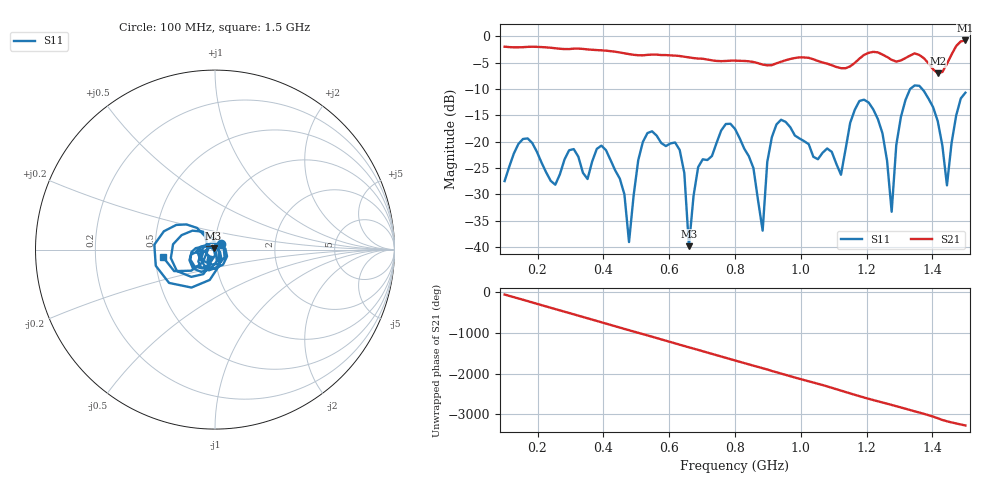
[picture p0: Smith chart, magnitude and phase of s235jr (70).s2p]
! NanoVNA-App
! Date: 2025-09-25 15:04:42
! Start: 100MHz Stop: 1,5GHz Points: 101
! S-Parameter data: F S11 S21 S12 S22
# Hz S RI R 50
!  Frequency  S11_Real  S11_Imag  S21_Real  S21_Imag  S12_Real  S12_Imag  S22_Real  S22_Imag
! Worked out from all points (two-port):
!   101 points, 100 MHz to 1.5 GHz, reference 50 ohm
!   highest |S21| = -0.78 dB at 1.5 GHz (marker M1); lowest = -7.0 dB at 1.416 GHz (marker M2)
!   |S21| within 3 dB of the highest: start of sweep to 636.9 MHz; 1.187 GHz to 1.258 GHz (70.74 MHz wide, 5.79 % of centre) (the widest 2 of 4)
!   lowest |S11| = -39.8 dB at 660 MHz (marker M3), VSWR 1.02, Z = 49.2 + j0.614 ohm
!   |S11| at or under -10 dB: start of sweep to 1.332 GHz; 1.369 GHz to end of sweep
!   S12 and S22 are empty: the file has one direction only
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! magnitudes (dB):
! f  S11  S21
! 100 MHz  -27.5  -2.0
! 170 MHz  -19.4  -2.0
! 338 MHz  -25.9  -2.4
! 408 MHz  -21.6  -2.7
! 478 MHz  -39.1  -3.4
! 520 MHz  -20.1  -3.6
! 576 MHz  -20.3  -3.5
! 632 MHz  -21.6  -3.7
! 660 MHz  -39.8  -4.0
! 688 MHz  -24.8  -4.2
! 800 MHz  -17.6  -4.6
! 884 MHz  -36.9  -5.4
! 926 MHz  -16.7  -5.1
! 1.038 GHz  -22.9  -4.4
! 1.122 GHz  -26.3  -6.0
! 1.206 GHz  -12.6  -3.1
! 1.276 GHz  -33.3  -4.5
! 1.29 GHz  -20.6  -4.8
! 1.332 GHz  -10.0  -3.6
! 1.416 GHz  -16.1  -7.0
! 1.444 GHz  -28.3  -5.2
! 1.5 GHz  -10.7  -0.8
